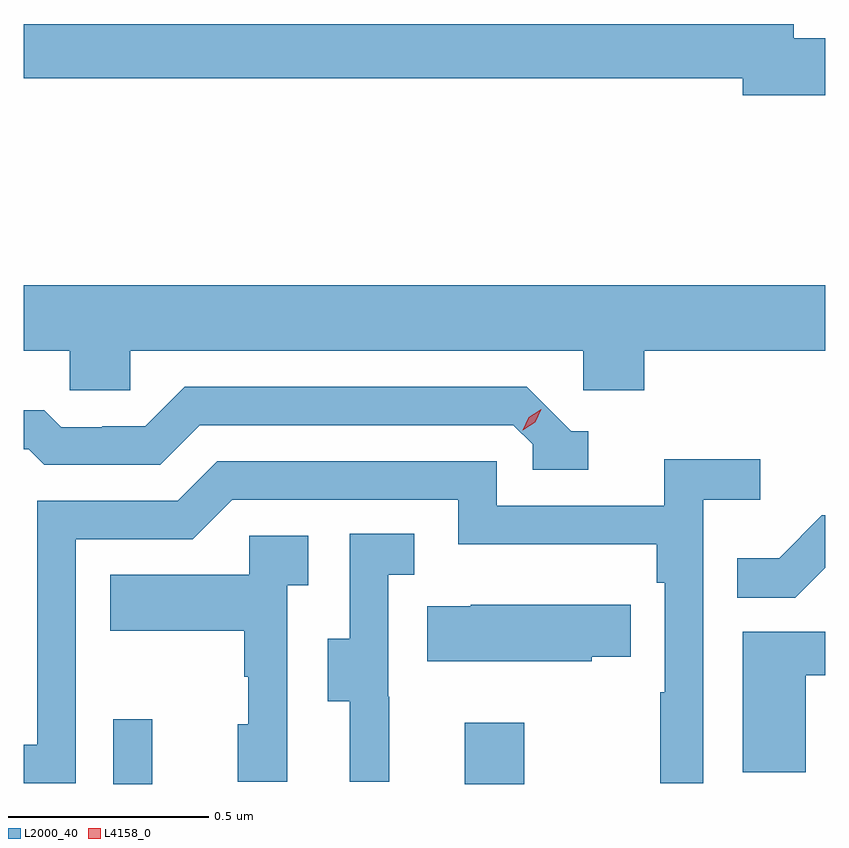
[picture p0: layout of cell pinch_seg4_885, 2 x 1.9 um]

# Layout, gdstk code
import gdstk
lib = gdstk.Library(unit=1e-6, precision=1e-09)
def R(c, l, rs):  # rectangles x0, y0, x1, y1
    for r in rs: c.add(gdstk.rectangle(r[:2], r[2:], *l))
def P(c, l, *ps):  # polygons
    for p in ps: c.add(gdstk.Polygon(p, *l))
L2000_40 = (2000, 40)
L4158_0 = (4158, 0)

pinch_seg4_885 = lib.new_cell('pinch_seg4_885')
R(pinch_seg4_885, L2000_40, [(843.315,790.411,843.413,790.573), (844.193,790.411,844.341,790.564)])
P(pinch_seg4_885, L2000_40, [(845.092,792.272),(845.014,792.272),(845.014,792.308),(843.092,792.308),(843.092,792.172),(844.886,792.172),(844.886,792.13),(845.092,792.13)],
  [(843.357,791.492),(844.488,791.492),(844.488,791.394),(844.64,791.394),(844.64,791.492),(845.092,791.492),(845.092,791.656),(843.092,791.656),(843.092,791.492),(843.207,791.492),(843.207,791.394),(843.357,791.394)],
  [(844.501,791.292),(844.458,791.292),(844.347,791.403),(843.494,791.403),(843.395,791.304),(843.288,791.304),(843.288,791.301),(843.185,791.301),(843.143,791.344),(843.092,791.344),(843.092,791.247),(843.104,791.247),(843.143,791.208),(843.432,791.208),(843.531,791.307),(844.314,791.307),(844.362,791.259),(844.362,791.196),(844.501,791.196)],
  [(843.222,791.022),(843.513,791.022),(843.612,791.121),(844.176,791.121),(844.176,791.009),(844.672,791.009),(844.672,790.913),(844.692,790.913),(844.692,790.64),(844.68,790.64),(844.68,790.413),(844.788,790.413),(844.788,791.12),(844.93,791.12),(844.93,791.222),(844.691,791.222),(844.691,791.106),(844.272,791.106),(844.272,791.217),(843.575,791.217),(843.476,791.118),(843.126,791.118),(843.126,790.509),(843.092,790.509),(843.092,790.413),(843.222,790.413)],
  [(845.092,790.951),(845.092,791.082),(845.084,791.082),(844.977,790.975),(844.873,790.975),(844.873,790.876),(845.017,790.876)],
  [(844.004,790.629),(844.002,790.629),(844.002,790.933),(844.066,790.933),(844.066,791.036),(843.906,791.036),(843.906,790.773),(843.851,790.773),(843.851,790.618),(843.905,790.618),(843.905,790.416),(844.004,790.416)],
  [(843.75,790.907),(843.802,790.907),(843.802,791.031),(843.654,791.031),(843.654,790.933),(843.307,790.933),(843.307,790.793),(843.642,790.793),(843.642,790.679),(843.652,790.679),(843.652,790.56),(843.626,790.56),(843.626,790.416),(843.75,790.416)],
  [(844.509,790.729),(844.607,790.729),(844.607,790.858),(844.207,790.858),(844.207,790.855),(844.099,790.855),(844.099,790.718),(844.509,790.718)],
  [(845.044,790.683),(845.092,790.683),(845.092,790.791),(844.886,790.791),(844.886,790.44),(845.044,790.44)])
P(pinch_seg4_885, L4158_0, [(844.337,791.294),(844.337,791.294),(844.352,791.327),(844.383,791.347),(844.383,791.347),(844.383,791.347),(844.368,791.314),(844.337,791.294)])

lib.write_gds('pinch_seg4_885.gds')
